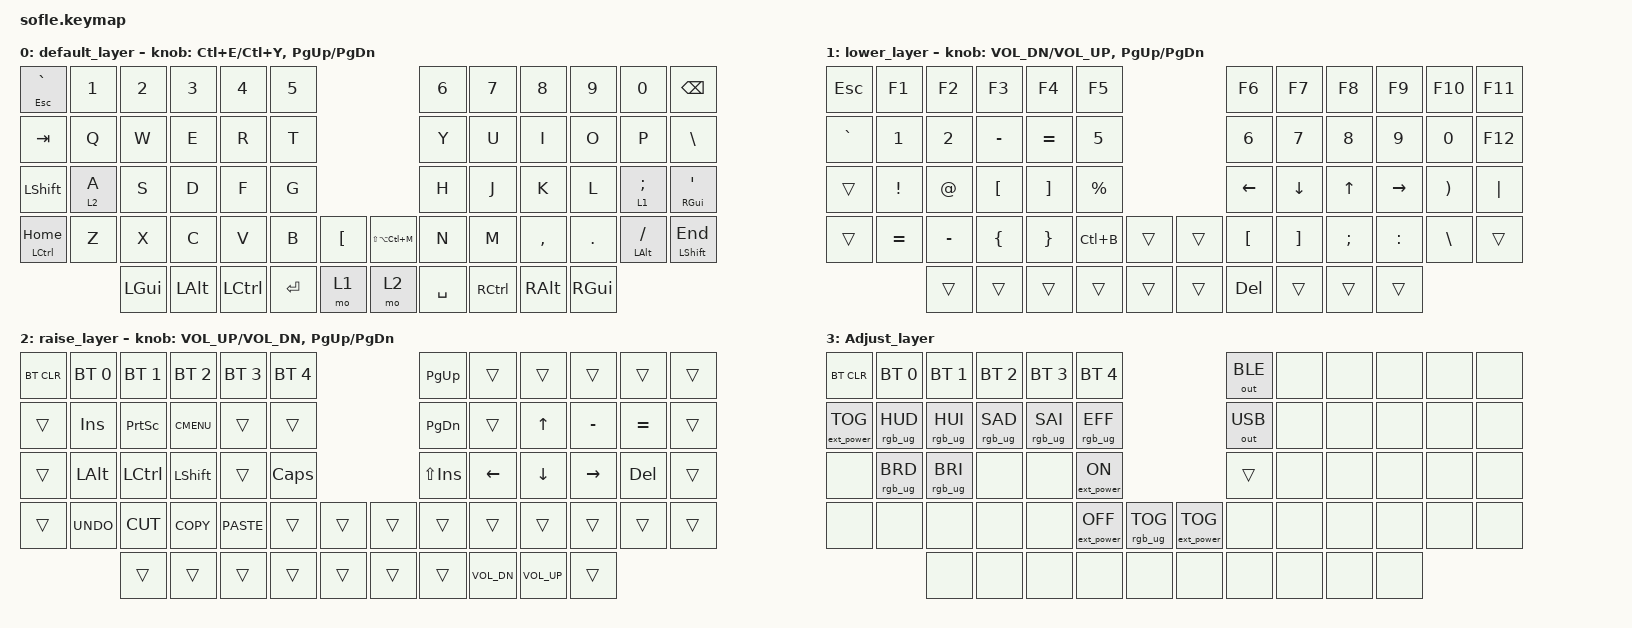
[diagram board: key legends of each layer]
/*
 * Copyright (c) 2020 The ZMK Contributors
 *
 * SPDX-License-Identifier: MIT
 */

#include <behaviors.dtsi>
#include <dt-bindings/zmk/bt.h>
#include <dt-bindings/zmk/ext_power.h>
#include <dt-bindings/zmk/keys.h>
#include <dt-bindings/zmk/outputs.h>
#include <dt-bindings/zmk/rgb.h>

#define BASE 0
#define LOWER 1
#define RAISE 2
#define ADJUST 3

&left_encoder {
    resolution = <4>;
};

&right_encoder {
    resolution = <4>;
};

&mt {
    tapping-term-ms = <350>;
    quick-tap-ms = <0>;
    flavor = "tap-preferred";
};

/ {
    // Activate ADJUST layer by pressing raise and lower

    conditional_layers {
        compatible = "zmk,conditional-layers";

        adjust_layer {
            if-layers = <LOWER RAISE>;
            then-layer = <ADJUST>;
        };
    };

    keymap {
        compatible = "zmk,keymap";

        default_layer {
            // ------------------------------------------------------------------------------------------------------------
            // |  `    |  1  |  2  |  3   |  4   |  5   |                   |  6   |  7    |  8    |  9   |   0   |       |
            // |  ESC  |  Q  |  W  |  E   |  R   |  T   |                   |  Y   |  U    |  I    |  O   |   P   | BKSPC |
            // |  TAB  |  A  |  S  |  D   |  F   |  G   |                   |  H   |  J    |  K    |  L   |   ;   |   '   |
            // | SHIFT |  Z  |  X  |  C   |  V   |  B   |  MUTE  |  |       |  N   |  M    |  ,    |  .   |   /   | SHIFT |
            //               | GUI | ALT  | CTRL | LOWER|  ENTER |  | SPACE | RAISE| CTRL  | ALT   | GUI  |

            bindings = <
&mt ESC GRAVE          &kp N1   &kp N2    &kp N3    &kp N4     &kp N5                                          &kp N6     &kp N7     &kp N8     &kp N9    &kp N0         &kp BACKSPACE
&kp TAB                &kp Q    &kp W     &kp E     &kp R      &kp T                                           &kp Y      &kp U      &kp I      &kp O     &kp P          &kp BACKSLASH
&kp LEFT_SHIFT         &lt 2 A  &kp S     &kp D     &kp F      &kp G                                           &kp H      &kp J      &kp K      &kp L     &lt 1 SEMI     &mt RGUI SINGLE_QUOTE
&mt LEFT_CONTROL HOME  &kp Z    &kp X     &kp C     &kp V      &kp B      &kp LEFT_BRACKET  &kp LS(LA(LC(M)))  &kp N      &kp M      &kp COMMA  &kp DOT   &mt LALT FSLH  &mt LEFT_SHIFT END
                                &kp LGUI  &kp LALT  &kp LCTRL  &kp ENTER  &mo 1             &mo 2              &kp SPACE  &kp RCTRL  &kp RALT   &kp RGUI
            >;

            sensor-bindings = <&inc_dec_kp LC(E) LC(Y) &inc_dec_kp PG_UP PG_DN>;
        };

        lower_layer {
            // TODO: Some binds are waiting for shifted keycode support.
            // ------------------------------------------------------------------------------------------------------------
            // |       |  F1 |  F2 |  F3  |  F4  |  F5  |                   |  F6  |  F7   |  F8   |  F9  |  F10  |  F11  |
            // | `     |   1 |   2 |   3  |   4  |   5  |                   |   6  |   7   |   8   |   9  |    0  |  F12  |
            // |       |  !  |  @  |  #   |  $   |  %   |                   |  ^   |  &    |  *    |  (   |   )   |   |   |
            // |       |  =  |  -  |  +   |  {   |  }   |        |  |       |  [   |  ]    |  ;    |  :   |   \   |       |
            //               |     |      |      |      |        |  |       |      |       |       |      |

            bindings = <
&kp ESCAPE  &kp F1     &kp F2     &kp F3            &kp F4             &kp F5                     &kp F6      &kp F7    &kp F8    &kp F9     &kp F10   &kp F11
&kp GRAVE   &kp N1     &kp N2     &kp MINUS         &kp EQUAL          &kp N5                     &kp N6      &kp N7    &kp N8    &kp N9     &kp N0    &kp F12
&trans      &kp EXCL   &kp AT     &kp LEFT_BRACKET  &kp RIGHT_BRACKET  &kp PRCNT                  &kp LEFT    &kp DOWN  &kp UP    &kp RIGHT  &kp RPAR  &kp PIPE
&trans      &kp EQUAL  &kp MINUS  &kp LEFT_BRACE    &kp RIGHT_BRACE    &kp LC(B)  &trans  &trans  &kp LBKT    &kp RBKT  &kp SEMI  &kp COLON  &kp BSLH  &trans
                       &trans     &trans            &trans             &trans     &trans  &trans  &kp DELETE  &trans    &trans    &trans
            >;

            sensor-bindings = <&inc_dec_kp C_VOL_DN C_VOL_UP &inc_dec_kp PG_UP PG_DN>;
        };

        raise_layer {
            // ------------------------------------------------------------------------------------------------------------
            // |BTCLR| BT1  | BT2  |  BT3  |  BT4  |  BT5 |                |      |      |       |      |       |       |
            // |     | INS  | PSCR | GUI   |       |      |                | PGUP |      |   ^   |      |       |       |
            // |     | ALT  | CTRL | SHIFT |       | CAPS |                | PGDN |   <- |   v   |  ->  |  DEL  | BKSPC |
            // |     | UNDO | CUT  | COPY  | PASTE |      |      |  |      |      |      |       |      |       |       |
            //              |      |       |       |      |      |  |      |      |      |       |      |

            bindings = <
&bt BT_CLR  &bt BT_SEL 0  &bt BT_SEL 1  &bt BT_SEL 2  &bt BT_SEL 3  &bt BT_SEL 4                  &kp PG_UP       &trans        &trans        &trans     &trans     &trans
&trans      &kp INS       &kp PSCRN     &kp K_CMENU   &trans        &trans                        &kp PG_DN       &trans        &kp UP        &kp MINUS  &kp EQUAL  &trans
&trans      &kp LALT      &kp LCTRL     &kp LSHFT     &trans        &kp CLCK                      &kp LS(INSERT)  &kp LEFT      &kp DOWN      &kp RIGHT  &kp DEL    &trans
&trans      &kp K_UNDO    &kp K_CUT     &kp K_COPY    &kp K_PASTE   &trans        &trans  &trans  &trans          &trans        &trans        &trans     &trans     &trans
                          &trans        &trans        &trans        &trans        &trans  &trans  &trans          &kp C_VOL_DN  &kp C_VOL_UP  &trans
            >;

            sensor-bindings = <&inc_dec_kp C_VOL_UP C_VOL_DN &inc_dec_kp PG_UP PG_DN>;
        };

        // ------------------------------------------------------------------------------------------------------------
        // |BTCLR | BT1   | BT2   |  BT3  |  BT4  |  BT5  |                |      |      |       |      |       |       |
        // |EXTPWR|RGB_HUD|RGB_HUI|RGB_SAD|RGB_SAI|RGB_EFF|                |      |      |       |      |       |       |
        // |      |RGB_BRD|RGB_BRI|       |       |       |                |      |      |       |      |       |       |
        // |      |       |       |       |       |       |RGB_TOG| |      |      |      |       |      |       |       |
        //                |       |       |       |       |       | |      |      |      |       |      |

        Adjust_layer {
            bindings = <
&bt BT_CLR         &bt BT_SEL 0     &bt BT_SEL 1     &bt BT_SEL 2     &bt BT_SEL 3     &bt BT_SEL 4                                           &out OUT_BLE  &none  &none  &none  &none  &none
&ext_power EP_TOG  &rgb_ug RGB_HUD  &rgb_ug RGB_HUI  &rgb_ug RGB_SAD  &rgb_ug RGB_SAI  &rgb_ug RGB_EFF                                        &out OUT_USB  &none  &none  &none  &none  &none
&none              &rgb_ug RGB_BRD  &rgb_ug RGB_BRI  &none            &none            &ext_power EP_ON                                       &trans        &none  &none  &none  &none  &none
&none              &none            &none            &none            &none            &ext_power EP_OFF  &rgb_ug RGB_TOG  &ext_power EP_TOG  &none         &none  &none  &none  &none  &none
                                    &none            &none            &none            &none              &none            &none              &none         &none  &none  &none
            >;
        };
    };
};
